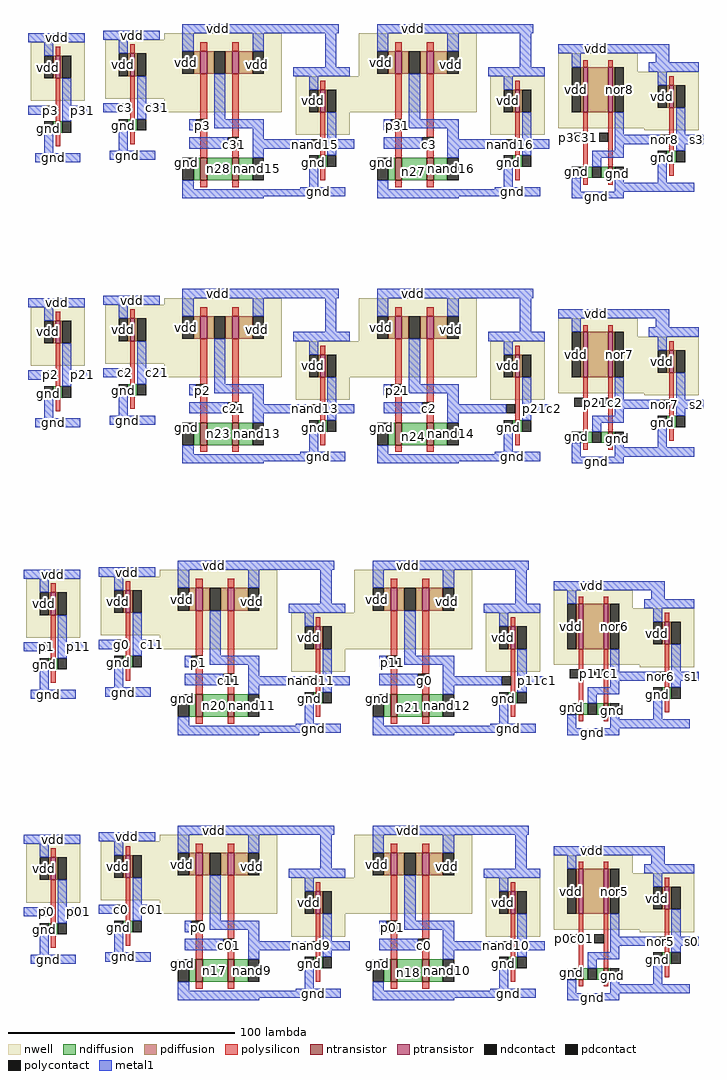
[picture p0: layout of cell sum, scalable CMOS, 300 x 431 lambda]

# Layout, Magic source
magic
tech scmos
<< nwell >>
rect -341 344 -289 347
rect -400 317 -376 343
rect -367 318 -289 344
rect -255 328 -203 347
rect -167 330 -132 338
rect -341 312 -289 318
rect -283 312 -203 328
rect -283 302 -259 312
rect -197 302 -173 328
rect -167 305 -105 330
rect -129 304 -105 305
rect -341 227 -289 230
rect -400 200 -376 226
rect -367 201 -289 227
rect -255 211 -203 230
rect -167 213 -132 221
rect -341 195 -289 201
rect -283 195 -203 211
rect -283 185 -259 195
rect -197 185 -173 211
rect -167 188 -105 213
rect -129 187 -105 188
rect -343 107 -291 110
rect -402 80 -378 106
rect -369 81 -291 107
rect -257 91 -205 110
rect -169 93 -134 101
rect -343 75 -291 81
rect -285 75 -205 91
rect -285 65 -261 75
rect -199 65 -175 91
rect -169 68 -107 93
rect -131 67 -107 68
rect -343 -10 -291 -7
rect -402 -37 -378 -11
rect -369 -36 -291 -10
rect -257 -26 -205 -7
rect -169 -24 -134 -16
rect -343 -42 -291 -36
rect -285 -42 -205 -26
rect -285 -52 -261 -42
rect -199 -52 -175 -26
rect -169 -49 -107 -24
rect -131 -50 -107 -49
<< ntransistor >>
rect -389 303 -387 308
rect -356 304 -354 309
rect -325 282 -322 292
rect -311 282 -308 292
rect -272 288 -270 293
rect -239 282 -236 292
rect -225 282 -222 292
rect -186 288 -184 293
rect -118 290 -116 295
rect -156 283 -154 288
rect -145 283 -143 288
rect -389 186 -387 191
rect -356 187 -354 192
rect -325 165 -322 175
rect -311 165 -308 175
rect -272 171 -270 176
rect -239 165 -236 175
rect -225 165 -222 175
rect -186 171 -184 176
rect -118 173 -116 178
rect -156 166 -154 171
rect -145 166 -143 171
rect -391 66 -389 71
rect -358 67 -356 72
rect -327 45 -324 55
rect -313 45 -310 55
rect -274 51 -272 56
rect -241 45 -238 55
rect -227 45 -224 55
rect -188 51 -186 56
rect -120 53 -118 58
rect -158 46 -156 51
rect -147 46 -145 51
rect -391 -51 -389 -46
rect -358 -50 -356 -45
rect -327 -72 -324 -62
rect -313 -72 -310 -62
rect -274 -66 -272 -61
rect -241 -72 -238 -62
rect -227 -72 -224 -62
rect -188 -66 -186 -61
rect -120 -64 -118 -59
rect -158 -71 -156 -66
rect -147 -71 -145 -66
<< ptransistor >>
rect -389 327 -387 337
rect -356 328 -354 338
rect -325 329 -322 339
rect -311 329 -308 339
rect -239 329 -236 339
rect -225 329 -222 339
rect -272 312 -270 322
rect -186 312 -184 322
rect -156 312 -154 332
rect -145 312 -143 332
rect -118 314 -116 324
rect -389 210 -387 220
rect -356 211 -354 221
rect -325 212 -322 222
rect -311 212 -308 222
rect -239 212 -236 222
rect -225 212 -222 222
rect -272 195 -270 205
rect -186 195 -184 205
rect -156 195 -154 215
rect -145 195 -143 215
rect -118 197 -116 207
rect -391 90 -389 100
rect -358 91 -356 101
rect -327 92 -324 102
rect -313 92 -310 102
rect -241 92 -238 102
rect -227 92 -224 102
rect -274 75 -272 85
rect -188 75 -186 85
rect -158 75 -156 95
rect -147 75 -145 95
rect -120 77 -118 87
rect -391 -27 -389 -17
rect -358 -26 -356 -16
rect -327 -25 -324 -15
rect -313 -25 -310 -15
rect -241 -25 -238 -15
rect -227 -25 -224 -15
rect -274 -42 -272 -32
rect -188 -42 -186 -32
rect -158 -42 -156 -22
rect -147 -42 -145 -22
rect -120 -40 -118 -30
<< ndiffusion >>
rect -390 303 -389 308
rect -387 303 -386 308
rect -357 304 -356 309
rect -354 304 -353 309
rect -328 282 -325 292
rect -322 282 -311 292
rect -308 282 -302 292
rect -273 288 -272 293
rect -270 288 -269 293
rect -242 282 -239 292
rect -236 282 -225 292
rect -222 282 -216 292
rect -187 288 -186 293
rect -184 288 -183 293
rect -119 290 -118 295
rect -116 290 -115 295
rect -157 283 -156 288
rect -154 283 -152 288
rect -148 283 -145 288
rect -143 283 -142 288
rect -390 186 -389 191
rect -387 186 -386 191
rect -357 187 -356 192
rect -354 187 -353 192
rect -328 165 -325 175
rect -322 165 -311 175
rect -308 165 -302 175
rect -273 171 -272 176
rect -270 171 -269 176
rect -242 165 -239 175
rect -236 165 -225 175
rect -222 165 -216 175
rect -187 171 -186 176
rect -184 171 -183 176
rect -119 173 -118 178
rect -116 173 -115 178
rect -157 166 -156 171
rect -154 166 -152 171
rect -148 166 -145 171
rect -143 166 -142 171
rect -392 66 -391 71
rect -389 66 -388 71
rect -359 67 -358 72
rect -356 67 -355 72
rect -330 45 -327 55
rect -324 45 -313 55
rect -310 45 -304 55
rect -275 51 -274 56
rect -272 51 -271 56
rect -244 45 -241 55
rect -238 45 -227 55
rect -224 45 -218 55
rect -189 51 -188 56
rect -186 51 -185 56
rect -121 53 -120 58
rect -118 53 -117 58
rect -159 46 -158 51
rect -156 46 -154 51
rect -150 46 -147 51
rect -145 46 -144 51
rect -392 -51 -391 -46
rect -389 -51 -388 -46
rect -359 -50 -358 -45
rect -356 -50 -355 -45
rect -330 -72 -327 -62
rect -324 -72 -313 -62
rect -310 -72 -304 -62
rect -275 -66 -274 -61
rect -272 -66 -271 -61
rect -244 -72 -241 -62
rect -238 -72 -227 -62
rect -224 -72 -218 -62
rect -189 -66 -188 -61
rect -186 -66 -185 -61
rect -121 -64 -120 -59
rect -118 -64 -117 -59
rect -159 -71 -158 -66
rect -156 -71 -154 -66
rect -150 -71 -147 -66
rect -145 -71 -144 -66
<< pdiffusion >>
rect -390 327 -389 337
rect -387 327 -386 337
rect -357 328 -356 338
rect -354 328 -353 338
rect -328 329 -325 339
rect -322 329 -319 339
rect -314 329 -311 339
rect -308 329 -302 339
rect -242 329 -239 339
rect -236 329 -233 339
rect -228 329 -225 339
rect -222 329 -216 339
rect -273 312 -272 322
rect -270 312 -269 322
rect -187 312 -186 322
rect -184 312 -183 322
rect -157 312 -156 332
rect -154 312 -145 332
rect -143 312 -142 332
rect -119 314 -118 324
rect -116 314 -115 324
rect -390 210 -389 220
rect -387 210 -386 220
rect -357 211 -356 221
rect -354 211 -353 221
rect -328 212 -325 222
rect -322 212 -319 222
rect -314 212 -311 222
rect -308 212 -302 222
rect -242 212 -239 222
rect -236 212 -233 222
rect -228 212 -225 222
rect -222 212 -216 222
rect -273 195 -272 205
rect -270 195 -269 205
rect -187 195 -186 205
rect -184 195 -183 205
rect -157 195 -156 215
rect -154 195 -145 215
rect -143 195 -142 215
rect -119 197 -118 207
rect -116 197 -115 207
rect -392 90 -391 100
rect -389 90 -388 100
rect -359 91 -358 101
rect -356 91 -355 101
rect -330 92 -327 102
rect -324 92 -321 102
rect -316 92 -313 102
rect -310 92 -304 102
rect -244 92 -241 102
rect -238 92 -235 102
rect -230 92 -227 102
rect -224 92 -218 102
rect -275 75 -274 85
rect -272 75 -271 85
rect -189 75 -188 85
rect -186 75 -185 85
rect -159 75 -158 95
rect -156 75 -147 95
rect -145 75 -144 95
rect -121 77 -120 87
rect -118 77 -117 87
rect -392 -27 -391 -17
rect -389 -27 -388 -17
rect -359 -26 -358 -16
rect -356 -26 -355 -16
rect -330 -25 -327 -15
rect -324 -25 -321 -15
rect -316 -25 -313 -15
rect -310 -25 -304 -15
rect -244 -25 -241 -15
rect -238 -25 -235 -15
rect -230 -25 -227 -15
rect -224 -25 -218 -15
rect -275 -42 -274 -32
rect -272 -42 -271 -32
rect -189 -42 -188 -32
rect -186 -42 -185 -32
rect -159 -42 -158 -22
rect -156 -42 -147 -22
rect -145 -42 -144 -22
rect -121 -40 -120 -30
rect -118 -40 -117 -30
<< ndcontact >>
rect -394 303 -390 308
rect -386 303 -382 308
rect -361 304 -357 309
rect -353 304 -349 309
rect -333 282 -328 292
rect -302 282 -297 292
rect -277 288 -273 293
rect -269 288 -265 293
rect -247 282 -242 292
rect -216 282 -211 292
rect -191 288 -187 293
rect -183 288 -179 293
rect -123 290 -119 295
rect -115 290 -111 295
rect -161 283 -157 288
rect -152 283 -148 288
rect -142 283 -138 288
rect -394 186 -390 191
rect -386 186 -382 191
rect -361 187 -357 192
rect -353 187 -349 192
rect -333 165 -328 175
rect -302 165 -297 175
rect -277 171 -273 176
rect -269 171 -265 176
rect -247 165 -242 175
rect -216 165 -211 175
rect -191 171 -187 176
rect -183 171 -179 176
rect -123 173 -119 178
rect -115 173 -111 178
rect -161 166 -157 171
rect -152 166 -148 171
rect -142 166 -138 171
rect -396 66 -392 71
rect -388 66 -384 71
rect -363 67 -359 72
rect -355 67 -351 72
rect -335 45 -330 55
rect -304 45 -299 55
rect -279 51 -275 56
rect -271 51 -267 56
rect -249 45 -244 55
rect -218 45 -213 55
rect -193 51 -189 56
rect -185 51 -181 56
rect -125 53 -121 58
rect -117 53 -113 58
rect -163 46 -159 51
rect -154 46 -150 51
rect -144 46 -140 51
rect -396 -51 -392 -46
rect -388 -51 -384 -46
rect -363 -50 -359 -45
rect -355 -50 -351 -45
rect -335 -72 -330 -62
rect -304 -72 -299 -62
rect -279 -66 -275 -61
rect -271 -66 -267 -61
rect -249 -72 -244 -62
rect -218 -72 -213 -62
rect -193 -66 -189 -61
rect -185 -66 -181 -61
rect -125 -64 -121 -59
rect -117 -64 -113 -59
rect -163 -71 -159 -66
rect -154 -71 -150 -66
rect -144 -71 -140 -66
<< pdcontact >>
rect -394 327 -390 337
rect -386 327 -382 337
rect -361 328 -357 338
rect -353 328 -349 338
rect -333 329 -328 339
rect -319 329 -314 339
rect -302 329 -297 339
rect -247 329 -242 339
rect -233 329 -228 339
rect -216 329 -211 339
rect -277 312 -273 322
rect -269 312 -265 322
rect -191 312 -187 322
rect -183 312 -179 322
rect -161 312 -157 332
rect -142 312 -138 332
rect -123 314 -119 324
rect -115 314 -111 324
rect -394 210 -390 220
rect -386 210 -382 220
rect -361 211 -357 221
rect -353 211 -349 221
rect -333 212 -328 222
rect -319 212 -314 222
rect -302 212 -297 222
rect -247 212 -242 222
rect -233 212 -228 222
rect -216 212 -211 222
rect -277 195 -273 205
rect -269 195 -265 205
rect -191 195 -187 205
rect -183 195 -179 205
rect -161 195 -157 215
rect -142 195 -138 215
rect -123 197 -119 207
rect -115 197 -111 207
rect -396 90 -392 100
rect -388 90 -384 100
rect -363 91 -359 101
rect -355 91 -351 101
rect -335 92 -330 102
rect -321 92 -316 102
rect -304 92 -299 102
rect -249 92 -244 102
rect -235 92 -230 102
rect -218 92 -213 102
rect -279 75 -275 85
rect -271 75 -267 85
rect -193 75 -189 85
rect -185 75 -181 85
rect -163 75 -159 95
rect -144 75 -140 95
rect -125 77 -121 87
rect -117 77 -113 87
rect -396 -27 -392 -17
rect -388 -27 -384 -17
rect -363 -26 -359 -16
rect -355 -26 -351 -16
rect -335 -25 -330 -15
rect -321 -25 -316 -15
rect -304 -25 -299 -15
rect -249 -25 -244 -15
rect -235 -25 -230 -15
rect -218 -25 -213 -15
rect -279 -42 -275 -32
rect -271 -42 -267 -32
rect -193 -42 -189 -32
rect -185 -42 -181 -32
rect -163 -42 -159 -22
rect -144 -42 -140 -22
rect -125 -40 -121 -30
rect -117 -40 -113 -30
<< polysilicon >>
rect -389 337 -387 341
rect -356 338 -354 342
rect -325 339 -322 343
rect -311 339 -308 343
rect -239 339 -236 343
rect -225 339 -222 343
rect -156 332 -154 335
rect -145 332 -143 335
rect -389 308 -387 327
rect -356 309 -354 328
rect -325 309 -322 329
rect -389 297 -387 303
rect -356 298 -354 304
rect -325 292 -322 304
rect -311 301 -308 329
rect -272 322 -270 326
rect -311 292 -308 296
rect -272 293 -270 312
rect -239 309 -236 329
rect -239 292 -236 304
rect -225 301 -222 329
rect -186 322 -184 326
rect -118 324 -116 328
rect -225 292 -222 296
rect -186 293 -184 312
rect -272 282 -270 288
rect -156 288 -154 312
rect -145 288 -143 312
rect -118 295 -116 314
rect -186 282 -184 288
rect -118 284 -116 290
rect -325 279 -322 282
rect -311 279 -308 282
rect -239 279 -236 282
rect -225 279 -222 282
rect -156 280 -154 283
rect -145 280 -143 283
rect -389 220 -387 224
rect -356 221 -354 225
rect -325 222 -322 226
rect -311 222 -308 226
rect -239 222 -236 226
rect -225 222 -222 226
rect -156 215 -154 218
rect -145 215 -143 218
rect -389 191 -387 210
rect -356 192 -354 211
rect -325 192 -322 212
rect -389 180 -387 186
rect -356 181 -354 187
rect -325 175 -322 187
rect -311 184 -308 212
rect -272 205 -270 209
rect -311 175 -308 179
rect -272 176 -270 195
rect -239 192 -236 212
rect -239 175 -236 187
rect -225 184 -222 212
rect -186 205 -184 209
rect -118 207 -116 211
rect -225 175 -222 179
rect -186 176 -184 195
rect -272 165 -270 171
rect -156 171 -154 195
rect -145 171 -143 195
rect -118 178 -116 197
rect -186 165 -184 171
rect -118 167 -116 173
rect -325 162 -322 165
rect -311 162 -308 165
rect -239 162 -236 165
rect -225 162 -222 165
rect -156 163 -154 166
rect -145 163 -143 166
rect -391 100 -389 104
rect -358 101 -356 105
rect -327 102 -324 106
rect -313 102 -310 106
rect -241 102 -238 106
rect -227 102 -224 106
rect -158 95 -156 98
rect -147 95 -145 98
rect -391 71 -389 90
rect -358 72 -356 91
rect -327 72 -324 92
rect -391 60 -389 66
rect -358 61 -356 67
rect -327 55 -324 67
rect -313 64 -310 92
rect -274 85 -272 89
rect -313 55 -310 59
rect -274 56 -272 75
rect -241 72 -238 92
rect -241 55 -238 67
rect -227 64 -224 92
rect -188 85 -186 89
rect -120 87 -118 91
rect -227 55 -224 59
rect -188 56 -186 75
rect -274 45 -272 51
rect -158 51 -156 75
rect -147 51 -145 75
rect -120 58 -118 77
rect -188 45 -186 51
rect -120 47 -118 53
rect -327 42 -324 45
rect -313 42 -310 45
rect -241 42 -238 45
rect -227 42 -224 45
rect -158 43 -156 46
rect -147 43 -145 46
rect -391 -17 -389 -13
rect -358 -16 -356 -12
rect -327 -15 -324 -11
rect -313 -15 -310 -11
rect -241 -15 -238 -11
rect -227 -15 -224 -11
rect -158 -22 -156 -19
rect -147 -22 -145 -19
rect -391 -46 -389 -27
rect -358 -45 -356 -26
rect -327 -45 -324 -25
rect -391 -57 -389 -51
rect -358 -56 -356 -50
rect -327 -62 -324 -50
rect -313 -53 -310 -25
rect -274 -32 -272 -28
rect -313 -62 -310 -58
rect -274 -61 -272 -42
rect -241 -45 -238 -25
rect -241 -62 -238 -50
rect -227 -53 -224 -25
rect -188 -32 -186 -28
rect -120 -30 -118 -26
rect -227 -62 -224 -58
rect -188 -61 -186 -42
rect -274 -72 -272 -66
rect -158 -66 -156 -42
rect -147 -66 -145 -42
rect -120 -59 -118 -40
rect -188 -72 -186 -66
rect -120 -70 -118 -64
rect -327 -75 -324 -72
rect -313 -75 -310 -72
rect -241 -75 -238 -72
rect -227 -75 -224 -72
rect -158 -74 -156 -71
rect -147 -74 -145 -71
<< polycontact >>
rect -393 311 -389 315
rect -360 312 -356 316
rect -327 304 -322 309
rect -313 296 -308 301
rect -276 296 -272 300
rect -241 304 -236 309
rect -227 296 -222 301
rect -190 296 -186 300
rect -160 299 -156 303
rect -149 299 -145 303
rect -122 298 -118 302
rect -393 194 -389 198
rect -360 195 -356 199
rect -327 187 -322 192
rect -313 179 -308 184
rect -276 179 -272 183
rect -241 187 -236 192
rect -227 179 -222 184
rect -190 179 -186 183
rect -160 182 -156 186
rect -149 182 -145 186
rect -122 181 -118 185
rect -395 74 -391 78
rect -362 75 -358 79
rect -329 67 -324 72
rect -315 59 -310 64
rect -278 59 -274 63
rect -243 67 -238 72
rect -229 59 -224 64
rect -192 59 -188 63
rect -162 62 -158 66
rect -151 62 -147 66
rect -124 61 -120 65
rect -395 -43 -391 -39
rect -362 -42 -358 -38
rect -329 -50 -324 -45
rect -315 -58 -310 -53
rect -278 -58 -274 -54
rect -243 -50 -238 -45
rect -229 -58 -224 -53
rect -192 -58 -188 -54
rect -162 -55 -158 -51
rect -151 -55 -147 -51
rect -124 -56 -120 -52
<< metal1 >>
rect -401 343 -376 347
rect -368 344 -343 348
rect -333 347 -264 351
rect -247 347 -178 351
rect -394 337 -390 343
rect -361 338 -357 344
rect -333 339 -328 347
rect -302 339 -297 347
rect -270 332 -265 347
rect -247 339 -242 347
rect -216 339 -211 347
rect -386 315 -382 327
rect -353 316 -349 328
rect -401 311 -393 315
rect -386 311 -374 315
rect -368 312 -360 316
rect -353 312 -341 316
rect -386 308 -382 311
rect -353 309 -349 312
rect -319 309 -314 329
rect -284 328 -259 332
rect -184 332 -179 347
rect -167 338 -118 342
rect -161 332 -157 338
rect -124 334 -118 338
rect -277 322 -273 328
rect -330 304 -327 309
rect -319 305 -297 309
rect -394 294 -390 303
rect -361 295 -357 304
rect -330 296 -313 301
rect -302 300 -297 305
rect -269 300 -265 312
rect -233 309 -228 329
rect -198 328 -173 332
rect -191 322 -187 328
rect -127 330 -105 334
rect -123 324 -119 330
rect -244 304 -241 309
rect -233 305 -211 309
rect -302 296 -276 300
rect -269 296 -257 300
rect -244 296 -227 301
rect -216 300 -211 305
rect -183 300 -179 312
rect -216 296 -190 300
rect -183 296 -171 300
rect -142 302 -138 312
rect -115 302 -111 314
rect -142 298 -122 302
rect -115 298 -103 302
rect -398 290 -378 294
rect -365 291 -345 295
rect -302 292 -297 296
rect -269 293 -265 296
rect -216 292 -211 296
rect -183 293 -179 296
rect -142 295 -138 298
rect -115 295 -111 298
rect -333 278 -328 282
rect -277 279 -273 288
rect -152 292 -138 295
rect -152 288 -148 292
rect -281 278 -261 279
rect -333 275 -261 278
rect -247 278 -242 282
rect -191 279 -187 288
rect -195 278 -175 279
rect -247 275 -175 278
rect -161 277 -157 283
rect -142 281 -138 283
rect -123 281 -119 290
rect -142 277 -107 281
rect -333 274 -297 275
rect -247 274 -211 275
rect -161 274 -138 277
rect -401 226 -376 230
rect -368 227 -343 231
rect -333 230 -264 234
rect -247 230 -178 234
rect -394 220 -390 226
rect -361 221 -357 227
rect -333 222 -328 230
rect -302 222 -297 230
rect -270 215 -265 230
rect -247 222 -242 230
rect -216 222 -211 230
rect -386 198 -382 210
rect -353 199 -349 211
rect -401 194 -393 198
rect -386 194 -374 198
rect -368 195 -360 199
rect -353 195 -341 199
rect -386 191 -382 194
rect -353 192 -349 195
rect -319 192 -314 212
rect -284 211 -259 215
rect -184 215 -179 230
rect -167 221 -118 225
rect -161 215 -157 221
rect -124 217 -118 221
rect -277 205 -273 211
rect -330 187 -327 192
rect -319 188 -297 192
rect -394 177 -390 186
rect -361 178 -357 187
rect -330 179 -313 184
rect -302 183 -297 188
rect -269 183 -265 195
rect -233 192 -228 212
rect -198 211 -173 215
rect -191 205 -187 211
rect -127 213 -105 217
rect -123 207 -119 213
rect -244 187 -241 192
rect -233 188 -211 192
rect -302 179 -276 183
rect -269 179 -257 183
rect -244 179 -227 184
rect -216 183 -211 188
rect -183 183 -179 195
rect -216 179 -190 183
rect -183 179 -171 183
rect -142 185 -138 195
rect -115 185 -111 197
rect -142 181 -122 185
rect -115 181 -103 185
rect -398 173 -378 177
rect -365 174 -345 178
rect -302 175 -297 179
rect -269 176 -265 179
rect -216 175 -211 179
rect -183 176 -179 179
rect -142 178 -138 181
rect -115 178 -111 181
rect -333 161 -328 165
rect -277 162 -273 171
rect -152 175 -138 178
rect -152 171 -148 175
rect -281 161 -261 162
rect -333 158 -261 161
rect -247 161 -242 165
rect -191 162 -187 171
rect -195 161 -175 162
rect -247 158 -175 161
rect -161 160 -157 166
rect -142 164 -138 166
rect -123 164 -119 173
rect -142 160 -107 164
rect -333 157 -297 158
rect -247 157 -211 158
rect -161 157 -138 160
rect -403 106 -378 110
rect -370 107 -345 111
rect -335 110 -266 114
rect -249 110 -180 114
rect -396 100 -392 106
rect -363 101 -359 107
rect -335 102 -330 110
rect -304 102 -299 110
rect -272 95 -267 110
rect -249 102 -244 110
rect -218 102 -213 110
rect -388 78 -384 90
rect -355 79 -351 91
rect -403 74 -395 78
rect -388 74 -376 78
rect -370 75 -362 79
rect -355 75 -343 79
rect -388 71 -384 74
rect -355 72 -351 75
rect -321 72 -316 92
rect -286 91 -261 95
rect -186 95 -181 110
rect -169 101 -120 105
rect -163 95 -159 101
rect -126 97 -120 101
rect -279 85 -275 91
rect -332 67 -329 72
rect -321 68 -299 72
rect -396 57 -392 66
rect -363 58 -359 67
rect -332 59 -315 64
rect -304 63 -299 68
rect -271 63 -267 75
rect -235 72 -230 92
rect -200 91 -175 95
rect -193 85 -189 91
rect -129 93 -107 97
rect -125 87 -121 93
rect -246 67 -243 72
rect -235 68 -213 72
rect -304 59 -278 63
rect -271 59 -259 63
rect -246 59 -229 64
rect -218 63 -213 68
rect -185 63 -181 75
rect -218 59 -192 63
rect -185 59 -173 63
rect -144 65 -140 75
rect -117 65 -113 77
rect -144 61 -124 65
rect -117 61 -105 65
rect -400 53 -380 57
rect -367 54 -347 58
rect -304 55 -299 59
rect -271 56 -267 59
rect -218 55 -213 59
rect -185 56 -181 59
rect -144 58 -140 61
rect -117 58 -113 61
rect -335 41 -330 45
rect -279 42 -275 51
rect -154 55 -140 58
rect -154 51 -150 55
rect -283 41 -263 42
rect -335 38 -263 41
rect -249 41 -244 45
rect -193 42 -189 51
rect -197 41 -177 42
rect -249 38 -177 41
rect -163 40 -159 46
rect -144 44 -140 46
rect -125 44 -121 53
rect -144 40 -109 44
rect -335 37 -299 38
rect -249 37 -213 38
rect -163 37 -140 40
rect -403 -11 -378 -7
rect -370 -10 -345 -6
rect -335 -7 -266 -3
rect -249 -7 -180 -3
rect -396 -17 -392 -11
rect -363 -16 -359 -10
rect -335 -15 -330 -7
rect -304 -15 -299 -7
rect -272 -22 -267 -7
rect -249 -15 -244 -7
rect -218 -15 -213 -7
rect -388 -39 -384 -27
rect -355 -38 -351 -26
rect -403 -43 -395 -39
rect -388 -43 -376 -39
rect -370 -42 -362 -38
rect -355 -42 -343 -38
rect -388 -46 -384 -43
rect -355 -45 -351 -42
rect -321 -45 -316 -25
rect -286 -26 -261 -22
rect -186 -22 -181 -7
rect -169 -16 -120 -12
rect -163 -22 -159 -16
rect -126 -20 -120 -16
rect -279 -32 -275 -26
rect -332 -50 -329 -45
rect -321 -49 -299 -45
rect -396 -60 -392 -51
rect -363 -59 -359 -50
rect -332 -58 -315 -53
rect -304 -54 -299 -49
rect -271 -54 -267 -42
rect -235 -45 -230 -25
rect -200 -26 -175 -22
rect -193 -32 -189 -26
rect -129 -24 -107 -20
rect -125 -30 -121 -24
rect -246 -50 -243 -45
rect -235 -49 -213 -45
rect -304 -58 -278 -54
rect -271 -58 -259 -54
rect -246 -58 -229 -53
rect -218 -54 -213 -49
rect -185 -54 -181 -42
rect -218 -58 -192 -54
rect -185 -58 -173 -54
rect -144 -52 -140 -42
rect -117 -52 -113 -40
rect -144 -56 -124 -52
rect -117 -56 -105 -52
rect -400 -64 -380 -60
rect -367 -63 -347 -59
rect -304 -62 -299 -58
rect -271 -61 -267 -58
rect -218 -62 -213 -58
rect -185 -61 -181 -58
rect -144 -59 -140 -56
rect -117 -59 -113 -56
rect -335 -76 -330 -72
rect -279 -75 -275 -66
rect -154 -62 -140 -59
rect -154 -66 -150 -62
rect -283 -76 -263 -75
rect -335 -79 -263 -76
rect -249 -76 -244 -72
rect -193 -75 -189 -66
rect -197 -76 -177 -75
rect -249 -79 -177 -76
rect -163 -77 -159 -71
rect -144 -73 -140 -71
rect -125 -73 -121 -64
rect -144 -77 -109 -73
rect -335 -80 -299 -79
rect -249 -80 -213 -79
rect -163 -80 -140 -77
<< labels >>
rlabel metal1 -390 -9 -390 -9 5 vdd
rlabel pdcontact -394 -22 -394 -22 1 vdd
rlabel ndcontact -394 -49 -394 -49 1 gnd
rlabel metal1 -392 -62 -392 -62 1 gnd
rlabel metal1 -357 -8 -357 -8 5 vdd
rlabel pdcontact -361 -21 -361 -21 1 vdd
rlabel ndcontact -361 -48 -361 -48 1 gnd
rlabel metal1 -359 -61 -359 -61 1 gnd
rlabel pdcontact -302 -21 -302 -21 1 vdd
rlabel pdcontact -333 -20 -333 -20 1 vdd
rlabel ndcontact -333 -64 -333 -64 1 gnd
rlabel metal1 -319 -5 -319 -5 5 vdd
rlabel metal1 -275 -77 -275 -77 1 gnd
rlabel ndcontact -277 -64 -277 -64 1 gnd
rlabel pdcontact -277 -37 -277 -37 1 vdd
rlabel pdcontact -216 -21 -216 -21 1 vdd
rlabel pdcontact -247 -20 -247 -20 1 vdd
rlabel ndcontact -247 -64 -247 -64 1 gnd
rlabel metal1 -233 -5 -233 -5 5 vdd
rlabel metal1 -189 -77 -189 -77 1 gnd
rlabel ndcontact -191 -64 -191 -64 1 gnd
rlabel pdcontact -191 -37 -191 -37 1 vdd
rlabel pdcontact -123 -35 -123 -35 1 vdd
rlabel ndcontact -123 -62 -123 -62 1 gnd
rlabel metal1 -152 -79 -152 -79 1 gnd
rlabel metal1 -152 -14 -152 -14 5 vdd
rlabel pdcontact -161 -32 -161 -32 1 vdd
rlabel ndcontact -143 -69 -143 -69 1 gnd
rlabel ndcontact -161 -68 -161 -68 1 gnd
rlabel metal1 -390 108 -390 108 5 vdd
rlabel pdcontact -394 95 -394 95 1 vdd
rlabel ndcontact -394 68 -394 68 1 gnd
rlabel metal1 -392 55 -392 55 1 gnd
rlabel metal1 -357 109 -357 109 5 vdd
rlabel pdcontact -361 96 -361 96 1 vdd
rlabel ndcontact -361 69 -361 69 1 gnd
rlabel metal1 -359 56 -359 56 1 gnd
rlabel pdcontact -302 96 -302 96 1 vdd
rlabel pdcontact -333 97 -333 97 1 vdd
rlabel ndcontact -333 53 -333 53 1 gnd
rlabel metal1 -319 112 -319 112 5 vdd
rlabel metal1 -275 40 -275 40 1 gnd
rlabel ndcontact -277 53 -277 53 1 gnd
rlabel pdcontact -277 80 -277 80 1 vdd
rlabel pdcontact -216 96 -216 96 1 vdd
rlabel pdcontact -247 97 -247 97 1 vdd
rlabel ndcontact -247 53 -247 53 1 gnd
rlabel metal1 -233 112 -233 112 5 vdd
rlabel metal1 -189 40 -189 40 1 gnd
rlabel ndcontact -191 53 -191 53 1 gnd
rlabel pdcontact -191 80 -191 80 1 vdd
rlabel pdcontact -123 82 -123 82 1 vdd
rlabel ndcontact -123 55 -123 55 1 gnd
rlabel metal1 -152 38 -152 38 1 gnd
rlabel metal1 -152 103 -152 103 5 vdd
rlabel pdcontact -161 85 -161 85 1 vdd
rlabel ndcontact -143 48 -143 48 1 gnd
rlabel ndcontact -161 49 -161 49 1 gnd
rlabel polycontact -393 -41 -393 -41 1 p0
rlabel metal1 -379 -41 -379 -41 1 p01
rlabel pdcontact -386 -22 -386 -22 1 p01
rlabel ndcontact -386 -49 -386 -49 1 p01
rlabel polycontact -360 -40 -360 -40 1 c0
rlabel metal1 -346 -40 -346 -40 1 c01
rlabel pdcontact -353 -21 -353 -21 1 c01
rlabel ndcontact -353 -48 -353 -48 1 c01
rlabel polycontact -326 -48 -326 -48 1 p0
rlabel polycontact -312 -56 -312 -56 1 c01
rlabel pdcontact -319 -20 -319 -20 1 nand9
rlabel ndcontact -302 -67 -302 -67 1 nand9
rlabel polycontact -276 -56 -276 -56 1 nand9
rlabel ndcontact -269 -64 -269 -64 1 p0c01
rlabel metal1 -262 -56 -262 -56 1 p0c01
rlabel pdcontact -269 -37 -269 -37 1 p0c01
rlabel polycontact -240 -48 -240 -48 1 p01
rlabel polycontact -226 -56 -226 -56 1 c0
rlabel pdcontact -233 -20 -233 -20 1 nand10
rlabel ndcontact -216 -67 -216 -67 1 nand10
rlabel polycontact -190 -56 -190 -56 1 nand10
rlabel pdcontact -183 -37 -183 -37 1 p01c0
rlabel ndcontact -183 -64 -183 -64 1 p01c0
rlabel metal1 -176 -56 -176 -56 1 p01c0
rlabel polycontact -160 -53 -160 -53 1 p0c01
rlabel polycontact -149 -53 -149 -53 1 p01c0
rlabel pdcontact -142 -32 -142 -32 1 nor5
rlabel ndcontact -152 -69 -152 -69 1 nor5
rlabel polycontact -122 -54 -122 -54 1 nor5
rlabel pdcontact -115 -35 -115 -35 1 s0
rlabel metal1 -108 -54 -108 -54 1 s0
rlabel ndcontact -115 -62 -115 -62 1 s0
rlabel ndiffusion -319 -67 -319 -67 1 n17
rlabel ndiffusion -233 -68 -233 -68 1 n18
rlabel pdiffusion -152 -31 -152 -31 1 n19
rlabel metal1 -108 63 -108 63 1 s1
rlabel ndcontact -115 55 -115 55 1 s1
rlabel pdcontact -115 82 -115 82 1 s1
rlabel polycontact -122 63 -122 63 1 nor6
rlabel pdcontact -142 85 -142 85 1 nor6
rlabel ndcontact -152 48 -152 48 1 nor6
rlabel polycontact -393 76 -393 76 1 p1
rlabel metal1 -379 76 -379 76 1 p11
rlabel pdcontact -386 95 -386 95 1 p11
rlabel ndcontact -386 68 -386 68 1 p11
rlabel metal1 -346 77 -346 77 1 c11
rlabel ndcontact -353 69 -353 69 1 c11
rlabel pdcontact -353 96 -353 96 1 c11
rlabel pdcontact -319 97 -319 97 1 nand11
rlabel ndcontact -302 50 -302 50 1 nand11
rlabel polycontact -276 61 -276 61 1 nand11
rlabel ndiffusion -319 50 -319 50 1 n20
rlabel ndiffusion -233 49 -233 49 1 n21
rlabel pdiffusion -152 86 -152 86 1 n22
rlabel polycontact -149 64 -149 64 1 p11c1
rlabel polycontact -160 64 -160 64 1 p1c11
rlabel metal1 -176 61 -176 61 1 p11c1
rlabel pdcontact -183 80 -183 80 1 p11c1
rlabel ndcontact -183 53 -183 53 1 p11c1
rlabel polycontact -190 61 -190 61 1 nand12
rlabel pdcontact -233 97 -233 97 1 nand12
rlabel ndcontact -216 50 -216 50 1 nand12
rlabel polycontact -240 69 -240 69 1 p11
rlabel ndcontact -269 53 -269 53 1 p1c11
rlabel metal1 -262 61 -262 61 1 p1c11
rlabel pdcontact -269 80 -269 80 1 p1c11
rlabel polycontact -312 61 -312 61 1 c11
rlabel polycontact -326 69 -326 69 1 p1
rlabel metal1 -388 228 -388 228 5 vdd
rlabel pdcontact -392 215 -392 215 1 vdd
rlabel ndcontact -392 188 -392 188 1 gnd
rlabel metal1 -390 175 -390 175 1 gnd
rlabel metal1 -355 229 -355 229 5 vdd
rlabel pdcontact -359 216 -359 216 1 vdd
rlabel ndcontact -359 189 -359 189 1 gnd
rlabel metal1 -357 176 -357 176 1 gnd
rlabel pdcontact -300 216 -300 216 1 vdd
rlabel pdcontact -331 217 -331 217 1 vdd
rlabel ndcontact -331 173 -331 173 1 gnd
rlabel metal1 -317 232 -317 232 5 vdd
rlabel metal1 -273 160 -273 160 1 gnd
rlabel ndcontact -275 173 -275 173 1 gnd
rlabel pdcontact -275 200 -275 200 1 vdd
rlabel pdcontact -214 216 -214 216 1 vdd
rlabel pdcontact -245 217 -245 217 1 vdd
rlabel ndcontact -245 173 -245 173 1 gnd
rlabel metal1 -231 232 -231 232 5 vdd
rlabel metal1 -187 160 -187 160 1 gnd
rlabel ndcontact -189 173 -189 173 1 gnd
rlabel pdcontact -189 200 -189 200 1 vdd
rlabel pdcontact -121 202 -121 202 1 vdd
rlabel ndcontact -121 175 -121 175 1 gnd
rlabel metal1 -150 158 -150 158 1 gnd
rlabel metal1 -150 223 -150 223 5 vdd
rlabel pdcontact -159 205 -159 205 1 vdd
rlabel ndcontact -141 168 -141 168 1 gnd
rlabel ndcontact -159 169 -159 169 1 gnd
rlabel metal1 -388 345 -388 345 5 vdd
rlabel pdcontact -392 332 -392 332 1 vdd
rlabel ndcontact -392 305 -392 305 1 gnd
rlabel metal1 -390 292 -390 292 1 gnd
rlabel metal1 -355 346 -355 346 5 vdd
rlabel pdcontact -359 333 -359 333 1 vdd
rlabel ndcontact -359 306 -359 306 1 gnd
rlabel metal1 -357 293 -357 293 1 gnd
rlabel pdcontact -300 333 -300 333 1 vdd
rlabel pdcontact -331 334 -331 334 1 vdd
rlabel ndcontact -331 290 -331 290 1 gnd
rlabel metal1 -317 349 -317 349 5 vdd
rlabel metal1 -273 277 -273 277 1 gnd
rlabel ndcontact -275 290 -275 290 1 gnd
rlabel pdcontact -275 317 -275 317 1 vdd
rlabel pdcontact -214 333 -214 333 1 vdd
rlabel pdcontact -245 334 -245 334 1 vdd
rlabel ndcontact -245 290 -245 290 1 gnd
rlabel metal1 -231 349 -231 349 5 vdd
rlabel metal1 -187 277 -187 277 1 gnd
rlabel ndcontact -189 290 -189 290 1 gnd
rlabel pdcontact -189 317 -189 317 1 vdd
rlabel pdcontact -121 319 -121 319 1 vdd
rlabel ndcontact -121 292 -121 292 1 gnd
rlabel metal1 -150 275 -150 275 1 gnd
rlabel metal1 -150 340 -150 340 5 vdd
rlabel pdcontact -159 322 -159 322 1 vdd
rlabel ndcontact -141 285 -141 285 1 gnd
rlabel ndcontact -159 286 -159 286 1 gnd
rlabel metal1 -106 183 -106 183 7 s2
rlabel ndcontact -113 175 -113 175 1 s2
rlabel pdcontact -113 202 -113 202 1 s2
rlabel polycontact -120 183 -120 183 1 nor7
rlabel pdcontact -140 205 -140 205 1 nor7
rlabel ndcontact -150 168 -150 168 1 nor7
rlabel polycontact -147 184 -147 184 1 p21c2
rlabel polycontact -158 184 -158 184 1 p2c21
rlabel ndiffusion -317 170 -317 170 1 n23
rlabel ndiffusion -231 169 -231 169 1 n24
rlabel pdiffusion -150 206 -150 206 1 n25
rlabel metal1 -174 181 -174 181 1 p21c2
rlabel pdcontact -317 217 -317 217 1 nand13
rlabel ndcontact -300 170 -300 170 1 nand13
rlabel polycontact -274 181 -274 181 1 nand13
rlabel polycontact -188 181 -188 181 1 nand14
rlabel ndcontact -214 170 -214 170 1 nand14
rlabel pdcontact -231 217 -231 217 1 nand14
rlabel ndcontact -181 173 -181 173 1 p21c2
rlabel pdcontact -181 200 -181 200 1 p21c2
rlabel polycontact -224 181 -224 181 1 c2
rlabel polycontact -238 189 -238 189 1 p21
rlabel metal1 -260 181 -260 181 1 p2c21
rlabel pdcontact -267 200 -267 200 1 p2c21
rlabel ndcontact -267 173 -267 173 1 p2c21
rlabel polycontact -310 181 -310 181 1 c21
rlabel polycontact -324 189 -324 189 1 p2
rlabel ndcontact -351 189 -351 189 1 c21
rlabel metal1 -344 197 -344 197 1 c21
rlabel pdcontact -351 216 -351 216 1 c21
rlabel polycontact -358 197 -358 197 1 c2
rlabel metal1 -377 196 -377 196 1 p21
rlabel polycontact -391 196 -391 196 1 p2
rlabel pdcontact -384 215 -384 215 1 p21
rlabel ndcontact -384 188 -384 188 1 p21
rlabel polycontact -120 300 -120 300 1 nor8
rlabel ndcontact -150 285 -150 285 1 nor8
rlabel pdcontact -140 322 -140 322 1 nor8
rlabel pdiffusion -150 323 -150 323 1 n26
rlabel ndiffusion -231 286 -231 286 1 n27
rlabel ndiffusion -317 287 -317 287 1 n28
rlabel ndcontact -300 287 -300 287 1 nand15
rlabel polycontact -274 298 -274 298 1 nand15
rlabel pdcontact -317 334 -317 334 1 nand15
rlabel ndcontact -214 287 -214 287 1 nand16
rlabel polycontact -188 298 -188 298 1 nand16
rlabel pdcontact -231 334 -231 334 1 nand16
rlabel metal1 -106 300 -106 300 7 s3
rlabel ndcontact -113 292 -113 292 1 s3
rlabel pdcontact -113 319 -113 319 1 s3
rlabel polycontact -391 313 -391 313 1 p3
rlabel metal1 -377 313 -377 313 1 p31
rlabel polycontact -358 314 -358 314 1 c3
rlabel ndcontact -384 305 -384 305 1 p31
rlabel pdcontact -384 332 -384 332 1 p31
rlabel metal1 -344 314 -344 314 1 c31
rlabel ndcontact -351 306 -351 306 1 c31
rlabel pdcontact -351 333 -351 333 1 c31
rlabel polycontact -324 306 -324 306 1 p3
rlabel polycontact -310 298 -310 298 1 c31
rlabel metal1 -260 298 -260 298 1 p3c31
rlabel ndcontact -267 290 -267 290 1 p3c31
rlabel pdcontact -267 317 -267 317 1 p3c31
rlabel polycontact -238 306 -238 306 1 p31
rlabel polycontact -224 298 -224 298 1 c3
rlabel metal1 -174 298 -174 298 1 p31c3
rlabel ndcontact -181 290 -181 290 1 p31c3
rlabel pdcontact -181 317 -181 317 1 p31c3
rlabel polycontact -158 301 -158 301 1 p3c31
rlabel polycontact -147 301 -147 301 1 p31c3
rlabel polycontact -360 77 -360 77 1 g0
rlabel polycontact -226 61 -226 61 1 g0
<< end >>
